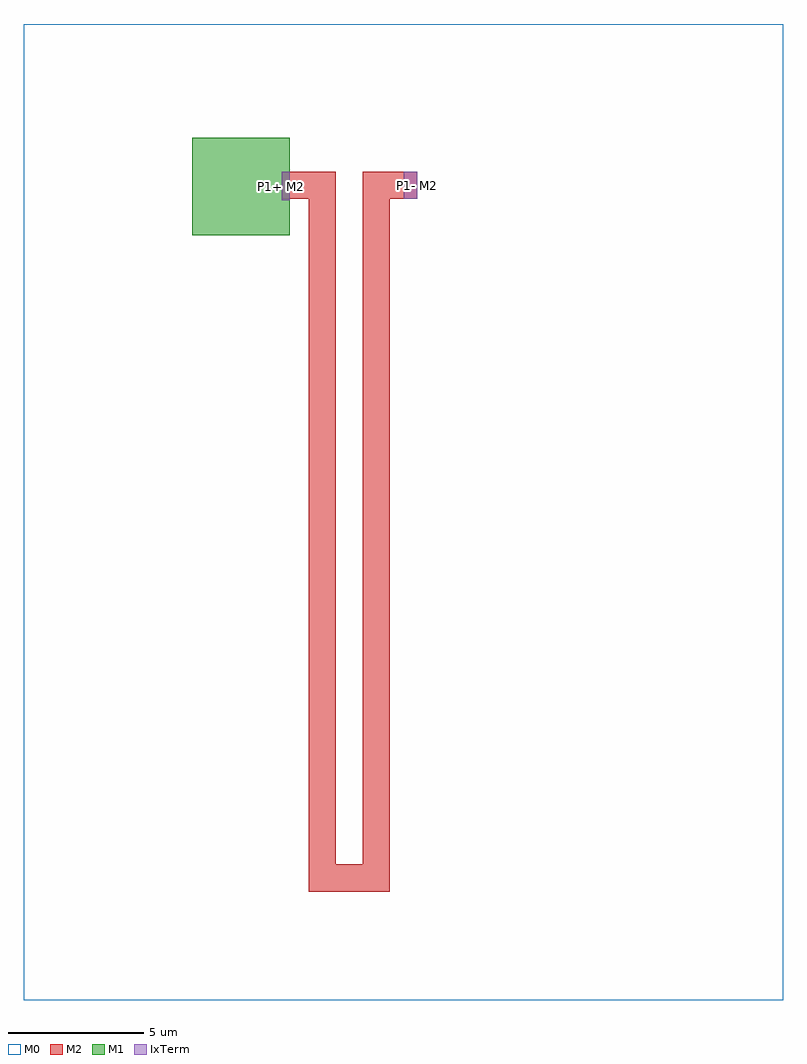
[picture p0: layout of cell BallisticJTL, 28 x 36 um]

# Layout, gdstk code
import gdstk
lib = gdstk.Library(unit=1e-6, precision=1e-09)
def R(c, l, rs):  # rectangles x0, y0, x1, y1
    for r in rs: c.add(gdstk.rectangle(r[:2], r[2:], *l))
M1 = (1, 0)
M2 = (6, 0)
M0 = (30, 0)
IxTerm = (63, 0)

ballisticjtl = lib.new_cell('BallisticJTL')
R(ballisticjtl, M1, [(-1.8,-1.8,1.8,1.8)])
R(ballisticjtl, M0, [(-8,-30,20,6)])
R(ballisticjtl, IxTerm, [(1.5,-0.5,1.8,0.55), (6,-0.45,6.5,0.55)])
ballisticjtl.add(gdstk.FlexPath([(1.5,0.05),(3,0.05),(3,-25.5),(5,-25.5),(5,0.05),(6.5,0.05)], 1, ends="flush", simple_path=True, layer=6, datatype=0))  # M2
ballisticjtl.add(gdstk.Label('P1+ M2', (1.5,0), layer=64, texttype=0))
ballisticjtl.add(gdstk.Label('P1- M2', (6.5,0.05), layer=64, texttype=0))

lib.write_gds('BallisticJTL.gds')
